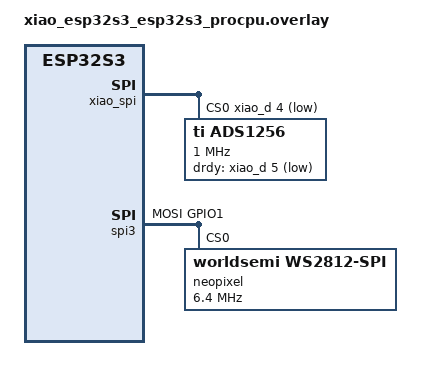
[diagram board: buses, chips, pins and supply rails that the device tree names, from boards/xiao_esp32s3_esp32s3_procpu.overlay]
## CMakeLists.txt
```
# SPDX-License-Identifier: Apache-2.0

cmake_minimum_required(VERSION 3.20.0)

find_package(Zephyr REQUIRED HINTS $ENV{ZEPHYR_BASE})
project(prototype)

target_sources(app PRIVATE src/main.c src/ads1256.c)
target_include_directories(app PRIVATE src)
```

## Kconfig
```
mainmenu "Fiber optic sensing application"

source "Kconfig.zephyr"
```

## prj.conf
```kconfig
# Misc. configuration
CONFIG_BOOT_BANNER=n

# Hardware configuration
CONFIG_GPIO=y
CONFIG_SPI=y
CONFIG_LED_STRIP=y
```

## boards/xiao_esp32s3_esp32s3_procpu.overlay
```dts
#include <zephyr/dt-bindings/led/led.h>

/*
 * XIAO ESP32-S3 pin usage (see seeed_xiao_connector.dtsi for D-number to GPIO):
 *
 *   D10 MOSI -> ADS1256 DIN  D4  CS   -> ADS1256 CS
 *   D5  DRDY <- ADS1256 DRDY
 *
 *   D0  MOSI (SPI3) -> NeoPixel DIN (single WS2812, via ~330 ohm series resistor)
 *
 * ADS1256 inputs: AIN0 = Vref, AIN1..AIN7 = photodiode amp outputs, AINCOM = GND.
 * Tie ADS1256 RESET and SYNC/PDWN high.
 */

/* The console is the USB serial port; free D6/D7 (UART0) and D4/D5 (I2C0). */
&uart0 {
	status = "disabled";
};

&i2c0 {
	status = "disabled";
};

&xiao_spi {
	cs-gpios = <&xiao_d 4 GPIO_ACTIVE_LOW>;

	ads1256: ads1256@0 {
		compatible = "ti,ads1256";
		reg = <0>;
		spi-max-frequency = <1000000>; /* SCLK period >= 4 tCLKIN (520 ns) */
		spi-cpha; /* SPI mode 1 */
		drdy-gpios = <&xiao_d 5 GPIO_ACTIVE_LOW>;
		vref-mv = <2500>;
	};
};

/*
 * Single NeoPixel on D0 (GPIO1), driven by SPI3 as a bit-stream. Only MOSI is
 * routed; SPI3 is otherwise unused (the ADS1256 is on SPI2).
 */
&pinctrl {
	spim3_default: spim3_default {
		group1 {
			pinmux = <SPIM3_MOSI_GPIO1>;
			output-low;
		};
	};
};

&spi3 {
	#address-cells = <1>;
	#size-cells = <0>;
	status = "okay";
	pinctrl-0 = <&spim3_default>;
	pinctrl-names = "default";
	line-idle-low; /* keep DIN low between frames so the pixel latches */

	neopixel: ws2812@0 {
		compatible = "worldsemi,ws2812-spi";
		reg = <0>; /* ignored, required by SPI bindings */
		spi-max-frequency = <6400000>;
		chain-length = <1>;
		spi-cpha;
		spi-one-frame = <0xf0>;  /* 625 ns high / 625 ns low */
		spi-zero-frame = <0xc0>; /* 312.5 ns high / 937.5 ns low */
		/* SK6812 RGBW: 32 bits/pixel, GRBW order. For an RGB-only SK6812, drop WHITE. */
		color-mapping = <LED_COLOR_ID_GREEN
				 LED_COLOR_ID_RED
				 LED_COLOR_ID_BLUE
				 LED_COLOR_ID_WHITE>;
	};
};

/ {
	aliases {
		led-strip = &neopixel;
	};
};
```

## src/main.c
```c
/*
 * Photodiode amplifier sampler
 * XIAO ESP32-S3 + ADS1256 / Zephyr
 *
 *   p		pause / resume CSV streaming
 *   d		debug print (raw readings, for calibrating the photodiodes)
 *
 * ADS1256 channels:
 * AIN0 = Vref, AIN1..AIN3 = Vo1..Vo7 (seven photodiode amplifier outputs) OR AIN1..AIN7 = Vo1..Vo7 (seven outputs)
 *
 * Output is CSV-formatted; all other output lines start with '#'.
 */

#include <errno.h>
#include <inttypes.h>
#include <stdatomic.h>
#include <stdbool.h>
#include <stdint.h>

#include <zephyr/device.h>
#include <zephyr/devicetree.h>
#include <zephyr/drivers/led_strip.h>
#include <zephyr/drivers/uart.h>
#include <zephyr/kernel.h>
#include <zephyr/sys/printk.h>
#include <zephyr/sys/util.h>

#include "ads1256.h"

/* ------------------------------------------------------------------ */
/* Constants                                                          */
/* ------------------------------------------------------------------ */

#define DIV_NUM 25 // Output voltage divider (10k + 15k)
#define DIV_DEN 15 // Output voltage divider top (15k)
#define R1_OHMS 150000LL // Feedback resistor

#define SAMPLE_PERIOD_MS 250 // 5/s
#define ADS_DRATE ADS1256_DRATE_60SPS // 30 or 50 might help
#define ADS_PGA ADS1256_PGA_1
#define ADS_BUFFER true

#define INPUT_POLL_MS 5

static bool streaming = true;

/* ------------------------------------------------------------------ */
/* Command queue (serial input -> main)           */
/* ------------------------------------------------------------------ */

enum cmd {
	CMD_DEBUG,
	CMD_TOGGLE_STREAM
};

struct cmd_msg {
	uint8_t cmd;
	int16_t arg;
};

K_MSGQ_DEFINE(cmd_q, sizeof(struct cmd_msg), 8, 2);

static void post_cmd(enum cmd c, int16_t arg)
{
	struct cmd_msg m = {.cmd = (uint8_t)c, .arg = arg};

	(void)k_msgq_put(&cmd_q, &m, K_NO_WAIT);
}

/* ------------------------------------------------------------------ */
/* Serial input (USB console -> commands)                             */
/* ------------------------------------------------------------------ */

static const struct device *const console_dev =
	DEVICE_DT_GET(DT_CHOSEN(zephyr_console));

static void input_thread(void *a, void *b, void *c)
{
	size_t n = 0;

	ARG_UNUSED(a);
	ARG_UNUSED(b);
	ARG_UNUSED(c);

	while (1) {
		unsigned char ch;

		if (uart_poll_in(console_dev, &ch) != 0) {
			k_sleep(K_MSEC(INPUT_POLL_MS));
			continue;
		}

		if (ch == '\n' && n == 0) {
			continue; // CRLF
		}

		if (ch == 'p') {
			n = 0;
			post_cmd(CMD_TOGGLE_STREAM, 0);
		} else if (ch == 'o') {
			n = 0;
			post_cmd(CMD_DEBUG, 0);
		} else {
			n = 0; // unknown key
		}
	}
}

K_THREAD_DEFINE(input_tid, 1024, input_thread, NULL, NULL, NULL, 7, 0, 0);

/* ------------------------------------------------------------------ */
/* ADC                                                                */
/* ------------------------------------------------------------------ */

#define VREF_IDX  0
#define NUM_SIG   7	/* photodiode channels */
#define NUM_CH    (1 + NUM_SIG)	/* Vref + signals; channel i is AINi */

static const struct ads1256 adc =
	ADS1256_DT_GET(DT_NODELABEL(ads1256), ADS_PGA, ADS_BUFFER);

struct measurement {
	int32_t raw[NUM_CH];
	int32_t uv[NUM_CH];
	int64_t i_pa[NUM_SIG]; /* photodiode currents in picoamps */
};

static int measure(struct measurement *m)
{
	for (size_t i = 0; i < NUM_CH; i++) {
		int err = ads1256_read_raw(&adc, (uint8_t)i, &m->raw[i]);

		if (err < 0) {
			printk("# ERROR adc read AIN%d (%d)\n", (int)i, err);
			return err;
		}
		m->uv[i] = ads1256_raw_to_uv(&adc, m->raw[i]);
	}

	for (size_t s = 0; s < NUM_SIG; s++) {
		/* uV / ohm = uA = 1e6 pA */
		int64_t vo_amp_uv = (int64_t)m->uv[1 + s] * DIV_NUM / DIV_DEN;

		m->i_pa[s] = ((vo_amp_uv - m->uv[VREF_IDX]) * 1000000LL) / R1_OHMS;
	}

	return 0;
}

/* ------------------------------------------------------------------ */
/* Prints and handlers                                                */
/* ------------------------------------------------------------------ */

static void print_csv_header(void)
{
	printk("#t_ms,vref_uv");
	for (int i = 1; i <= NUM_SIG; i++) {
		printk(",vo%d_uv", i);
	}
	for (int i = 1; i <= NUM_SIG; i++) {
		printk(",i%d_pa", i);
	}
}

static void print_csv(int64_t t_ms, const struct measurement *m)
{
	printk("%" PRId64 ",%" PRId32, t_ms, m->uv[VREF_IDX]);
	for (size_t i = 1; i < NUM_CH; i++) {
		printk(",%" PRId32, m->uv[i]);
	}
	for (size_t s = 0; s < NUM_SIG; s++) {
		printk(",%" PRId64, m->i_pa[s]);
	}
	printk("\n");
}

static void print_debug(const struct measurement *m)
{
	printk("# DEBUG Vref: raw=%d  %d uV\n", (int)m->raw[VREF_IDX],
	       (int)m->uv[VREF_IDX]);
	for (size_t s = 0; s < NUM_SIG; s++) {
		printk("# DEBUG Vo%d: raw=%d  %d uV |"
		       " I=%" PRId64 " pA\n",
		       (int)(s + 1), (int)m->raw[1 + s],
		       (int)(m->uv[1 + s] - m->uv[VREF_IDX]), m->i_pa[s]);
	}
	printk("\n");
}

static void handle_debug(void)
{
	struct measurement m;

	if (measure(&m) == 0) {
		print_debug(&m);
	}
}

static void handle_cmd(const struct cmd_msg *msg)
{
	switch (msg->cmd) {
	case CMD_DEBUG:
		handle_debug();
		break;
	case CMD_TOGGLE_STREAM:
		streaming = !streaming;
		if (streaming) {
			print_csv_header();
		} else {
			printk("# Streaming stopped\n");
		}
		break;
	}
}

#define NEOPIXEL_BRIGHTNESS 0x40 // 0-255; full white draws ~60 mA

static const struct device *const neopixel = DEVICE_DT_GET(DT_ALIAS(led_strip));

// Turn the single NeoPixel on (white). It holds its color while powered.
static int neopixel_white(void)
{
	struct led_rgb px = {
		.r = NEOPIXEL_BRIGHTNESS,
		.g = NEOPIXEL_BRIGHTNESS,
		.b = NEOPIXEL_BRIGHTNESS,
	};

	if (!device_is_ready(neopixel)) {
		return -ENODEV;
	}
	return led_strip_update_rgb(neopixel, &px, 1);
}

int main(void)
{
	int err;

	if (!device_is_ready(console_dev)) {
		return 0;
	}

	err = neopixel_white();
	if (err < 0) {
		printk("# ERROR NeoPixel (%d)\n", err);
	}

	err = ads1256_init(&adc, ADS_DRATE);
	if (err < 0) {
		printk("# ERROR ADS1256 init (%d)\n", err);
		return 0;
	}

	print_csv_header();

	int64_t next_ms = k_uptime_get();

	while (1) {
		struct cmd_msg msg;

		// If no command arrives before next_ms, we take a sample.
		if (k_msgq_get(&cmd_q, &msg, K_TIMEOUT_ABS_MS(next_ms)) == 0) {
			handle_cmd(&msg);
			continue;
		}

		if (streaming) {
			struct measurement m;
			int64_t now = k_uptime_get();

			if (measure(&m) == 0) {
				print_csv(now, &m);
			}
		}

		next_ms += SAMPLE_PERIOD_MS;
		if (next_ms < k_uptime_get()) {
			next_ms = k_uptime_get() + SAMPLE_PERIOD_MS;
		}
	}

	return 0;
}
```

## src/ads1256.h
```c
/*
 * Minimal polled driver for the TI ADS1256 24-bit delta-sigma ADC.
 * Single-ended reads against AINCOM, one channel at a time.
 */

#ifndef ADS1256_H_
#define ADS1256_H_

#include <stdint.h>

#include <zephyr/drivers/gpio.h>
#include <zephyr/drivers/spi.h>

/* PGA gain settings (ADCON[2:0]) */
enum ads1256_pga {
	ADS1256_PGA_1,
	ADS1256_PGA_2,
	ADS1256_PGA_4,
	ADS1256_PGA_8,
	ADS1256_PGA_16,
	ADS1256_PGA_32,
	ADS1256_PGA_64,
};

/* Data rates (DRATE register values, fCLKIN = 7.68 MHz) */
enum ads1256_drate {
	ADS1256_DRATE_2_5SPS = 0x03,
	ADS1256_DRATE_5SPS = 0x13,
	ADS1256_DRATE_10SPS = 0x23,
	ADS1256_DRATE_15SPS = 0x33,
	ADS1256_DRATE_25SPS = 0x43,
	ADS1256_DRATE_30SPS = 0x53,
	ADS1256_DRATE_50SPS = 0x63,
	ADS1256_DRATE_60SPS = 0x72,
	ADS1256_DRATE_100SPS = 0x82,
	ADS1256_DRATE_500SPS = 0x92,
	ADS1256_DRATE_1000SPS = 0xA1,
	ADS1256_DRATE_2000SPS = 0xB0,
};

#define ADS1256_AINCOM 8

struct ads1256 {
	struct spi_dt_spec spi;
	struct gpio_dt_spec drdy;
	uint32_t vref_mv;
	enum ads1256_pga pga;
	bool buffer;
};

#define ADS1256_DT_GET(node_id, _pga, _buffer)                                   \
	{                                                                        \
		.spi = SPI_DT_SPEC_GET(node_id, SPI_WORD_SET(8) | SPI_TRANSFER_MSB), \
		.drdy = GPIO_DT_SPEC_GET(node_id, drdy_gpios),                   \
		.vref_mv = DT_PROP(node_id, vref_mv),                            \
		.pga = (_pga),                                                   \
		.buffer = (_buffer),                                             \
	}

/** Reset, configure, self-calibrate and verify the ADC. */
int ads1256_init(const struct ads1256 *adc, enum ads1256_drate drate);

/** One settled single-ended conversion of AINx vs AINCOM (signed 24-bit code). */
int ads1256_read_raw(const struct ads1256 *adc, uint8_t ain, int32_t *raw);

/** One settled conversion with an arbitrary MUX register value (AINP << 4 | AINN). */
int ads1256_read_mux(const struct ads1256 *adc, uint8_t mux, int32_t *raw);

/** Convert a raw code to microvolts at the ADC input pin. */
int32_t ads1256_raw_to_uv(const struct ads1256 *adc, int32_t raw);

#endif /* ADS1256_H_ */
```
